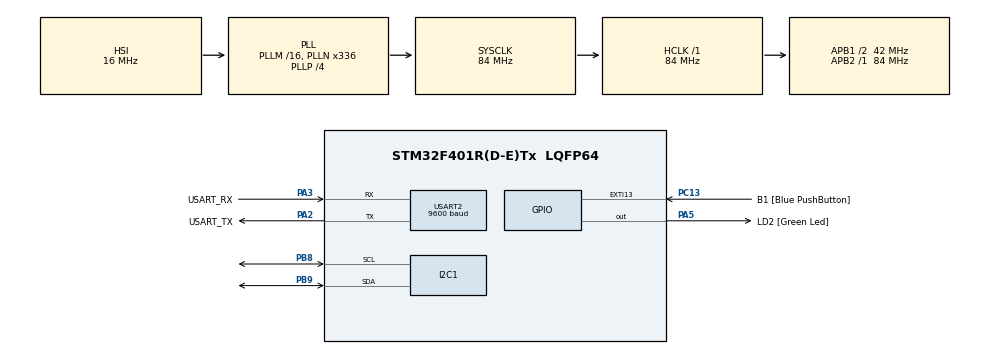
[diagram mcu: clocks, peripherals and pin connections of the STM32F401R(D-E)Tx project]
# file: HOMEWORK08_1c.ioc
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Dma.I2C1_RX.0.Direction=DMA_PERIPH_TO_MEMORY
Dma.I2C1_RX.0.FIFOMode=DMA_FIFOMODE_DISABLE
Dma.I2C1_RX.0.Instance=DMA1_Stream0
Dma.I2C1_RX.0.MemDataAlignment=DMA_MDATAALIGN_BYTE
Dma.I2C1_RX.0.MemInc=DMA_MINC_ENABLE
Dma.I2C1_RX.0.Mode=DMA_NORMAL
Dma.I2C1_RX.0.PeriphDataAlignment=DMA_PDATAALIGN_BYTE
Dma.I2C1_RX.0.PeriphInc=DMA_PINC_DISABLE
Dma.I2C1_RX.0.Priority=DMA_PRIORITY_LOW
Dma.Request0=I2C1_RX
Dma.Request1=USART2_TX
Dma.USART2_TX.1.Direction=DMA_MEMORY_TO_PERIPH
Dma.USART2_TX.1.FIFOMode=DMA_FIFOMODE_DISABLE
Dma.USART2_TX.1.Instance=DMA1_Stream6
Dma.USART2_TX.1.MemDataAlignment=DMA_MDATAALIGN_BYTE
Dma.USART2_TX.1.MemInc=DMA_MINC_ENABLE
Dma.USART2_TX.1.Mode=DMA_NORMAL
Dma.USART2_TX.1.PeriphDataAlignment=DMA_PDATAALIGN_BYTE
Dma.USART2_TX.1.PeriphInc=DMA_PINC_DISABLE
Dma.USART2_TX.1.Priority=DMA_PRIORITY_LOW
Mcu.Family=STM32F4
Mcu.Name=STM32F401R(D-E)Tx
Mcu.Package=LQFP64
NVIC.DMA1_Stream0_IRQn=true\:0\:0\:false\:false\:true\:false\:true\:true
NVIC.DMA1_Stream6_IRQn=true\:0\:0\:false\:false\:true\:false\:true\:true
NVIC.I2C1_ER_IRQn=true\:0\:0\:false\:false\:true\:true\:true\:true
NVIC.I2C1_EV_IRQn=true\:0\:0\:false\:false\:true\:true\:true\:true
NVIC.PriorityGroup=NVIC_PRIORITYGROUP_4
NVIC.TIM2_IRQn=true\:0\:0\:false\:false\:true\:true\:true\:true
PA13.GPIO_Label=TMS
PA13.Mode=Trace_Asynchronous_SW
PA13.Signal=SYS_JTMS-SWDIO
PA14.GPIO_Label=TCK
PA14.Mode=Trace_Asynchronous_SW
PA14.Signal=SYS_JTCK-SWCLK
PA2.GPIO_Label=USART_TX
PA2.GPIO_Mode=GPIO_MODE_AF_PP
PA2.GPIO_PuPd=GPIO_NOPULL
PA2.GPIO_Speed=GPIO_SPEED_FREQ_LOW
PA2.Mode=Asynchronous
PA2.Signal=USART2_TX
PA3.GPIO_Label=USART_RX
PA3.GPIO_Mode=GPIO_MODE_AF_PP
PA3.GPIO_PuPd=GPIO_NOPULL
PA3.GPIO_Speed=GPIO_SPEED_FREQ_LOW
PA3.Mode=Asynchronous
PA3.Signal=USART2_RX
PA5.GPIO_Label=LD2 [Green Led]
PA5.GPIO_Mode=GPIO_MODE_OUTPUT_PP
PA5.GPIO_PuPd=GPIO_NOPULL
PA5.GPIO_Speed=GPIO_SPEED_FREQ_LOW
PA5.Signal=GPIO_Output
PB3.GPIO_Label=SWO
PB3.Mode=Trace_Asynchronous_SW
PB3.Signal=SYS_JTDO-SWO
PB8.Mode=I2C
PB8.Signal=I2C1_SCL
PB9.Mode=I2C
PB9.Signal=I2C1_SDA
PC13-ANTI_TAMP.GPIO_Label=B1 [Blue PushButton]
PC13-ANTI_TAMP.GPIO_ModeDefaultEXTI=GPIO_MODE_IT_FALLING
PC13-ANTI_TAMP.GPIO_PuPd=GPIO_NOPULL
PC13-ANTI_TAMP.Signal=GPXTI13
PC14-OSC32_IN.Mode=LSE-External-Oscillator
PC14-OSC32_IN.Signal=RCC_OSC32_IN
PC15-OSC32_OUT.Mode=LSE-External-Oscillator
PC15-OSC32_OUT.Signal=RCC_OSC32_OUT
PH0\ -\ OSC_IN.Mode=HSE-External-Clock-Source
PH0\ -\ OSC_IN.Signal=RCC_OSC_IN
PH1\ -\ OSC_OUT.Mode=HSE-External-Clock-Source
PH1\ -\ OSC_OUT.Signal=RCC_OSC_OUT
ProjectManager.HeapSize=0x200
ProjectManager.StackSize=0x400
ProjectManager.TargetToolchain=STM32CubeIDE
RCC.48MHZClocksFreq_Value=48000000
RCC.AHBFreq_Value=84000000
RCC.APB1CLKDivider=RCC_HCLK_DIV2
RCC.APB1Freq_Value=42000000
RCC.APB1TimFreq_Value=84000000
RCC.APB2Freq_Value=84000000
RCC.APB2TimFreq_Value=84000000
RCC.CortexFreq_Value=84000000
RCC.HCLKFreq_Value=84000000
RCC.HSE_VALUE=8000000
RCC.HSI_VALUE=16000000
RCC.PLLN=336
RCC.PLLP=RCC_PLLP_DIV4
RCC.PLLQ=7
RCC.SYSCLKFreq_VALUE=84000000
RCC.SYSCLKSource=RCC_SYSCLKSOURCE_PLLCLK
RCC.VCOOutputFreq_Value=336000000
TIM2.Period=9999
TIM2.Prescaler=8399
USART2.BaudRate=9600
USART2.VirtualMode=VM_ASYNC
VP_TIM2_VS_ClockSourceINT.Mode=Internal
board=NUCLEO-F401RE

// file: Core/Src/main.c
/* USER CODE BEGIN Header */
/**
  ******************************************************************************
  * @file           : main.c
  * @brief          : Main program body
  ******************************************************************************
  * @attention
  *
  * Copyright (c) 2025 STMicroelectronics.
  * All rights reserved.
  *
  * This software is licensed under terms that can be found in the LICENSE file
  * in the root directory of this software component.
  * If no LICENSE file comes with this software, it is provided AS-IS.
  *
  ******************************************************************************
  */
/* USER CODE END Header */
#include "main.h"

/* USER CODE BEGIN Includes */
#include "stdio.h"
/* USER CODE END Includes */

I2C_HandleTypeDef hi2c1;
DMA_HandleTypeDef hdma_i2c1_rx;

TIM_HandleTypeDef htim2;

UART_HandleTypeDef huart2;
DMA_HandleTypeDef hdma_usart2_tx;

/* USER CODE BEGIN PV */
//LIS2DE
uint8_t ACCEL_ADD = 0b01010000;

//LIS2DE12
uint8_t LIS2DE12_ADD = 0b00110000;

//reg address, 1 Hz + normal mode + XYZ enabled
uint8_t CTRL_REG1[] = {0x20, 0b00010111};

//reg address, no HPF (default value at startup)
uint8_t CTRL_REG2[] = {0x21, 0b00000000};

//reg address, continuous update + 2g FSR + self test disabled
uint8_t CTRL_REG4[] = {0x23, 0b00000000};

float acc_g_x;
float acc_g_y;
float acc_g_z;

uint8_t values[5]; //5 Bytes: register address map -> register addresses 0x29(OUT_X), 0x2A, 0x2B(OUT_Y), 0x2C, 0x2D(OUT_Z)

/* USER CODE END PV */

void SystemClock_Config(void);
static void MX_GPIO_Init(void);
static void MX_DMA_Init(void);
static void MX_USART2_UART_Init(void);
static void MX_I2C1_Init(void);
static void MX_TIM2_Init(void);

/* USER CODE BEGIN 0 */

void HAL_UART_TxCpltCallback(UART_HandleTypeDef *huart){
	if (huart == &huart2){
	}
}

void HAL_TIM_PeriodElapsedCallback(TIM_HandleTypeDef *htim)
{
    if (htim == &htim2)
    {
    	uint8_t SUB = 0b10101001; //in order to read multiple bytes: SUB[7]=1 (auto-increment bit), while SUB[6-0] represents the address of the first register to be read(OUT_X in our case)
    	//equal to: SUB = 0x29 | 0x80;

    	HAL_I2C_Master_Transmit(&hi2c1, ACCEL_ADD, &SUB, 1, 50);
    	HAL_I2C_Master_Receive_DMA(&hi2c1, ACCEL_ADD+1, values, 5);
    }
}

void HAL_I2C_MasterRxCpltCallback(I2C_HandleTypeDef *hi2c){
	if (hi2c == &hi2c1){
		char str[64];
		int len = 0;

		acc_g_x = values[0] / 64.0;
		acc_g_y = values[2] / 64.0;
	  	acc_g_z = values[4] / 64.0;

	  	len = snprintf(str, sizeof(str), "X: %+-2f g\r\nY: %+.2f g\r\nZ: %+.2f g\r\n",acc_g_x, acc_g_y, acc_g_z);
	  	//adding the + we state that we always want the sign explicitly printed.
	  	HAL_UART_Transmit_DMA(&huart2, str, len);
	}
}
/* USER CODE END 0 */

int main(void)
{

  /* MCU Configuration--------------------------------------------------------*/

  /* Reset of all peripherals, Initializes the Flash interface and the Systick. */
  HAL_Init();

  /* Configure the system clock */
  SystemClock_Config();

  /* Initialize all configured peripherals */
  MX_GPIO_Init();
  MX_DMA_Init();
  MX_USART2_UART_Init();
  MX_I2C1_Init();
  MX_TIM2_Init();
  /* USER CODE BEGIN 2 */
  HAL_TIM_Base_Start_IT(&htim2);
    char str[64];
    int len = 0;

      //Initialize accelerometer

      if(HAL_I2C_Master_Transmit(&hi2c1, ACCEL_ADD, CTRL_REG1, sizeof(CTRL_REG1), 50) == HAL_OK){
    	  len = snprintf(str, sizeof(str),"LIS2DE found\r\n");
    	  //if the I2C write returns OK, then we know that there is a device with the LIS2DE address on the I2C bus, so we continue
      } else {
    	  //if not, we change the address to the LIS2BE12 and try again
    	  ACCEL_ADD = LIS2DE12_ADD;
    	  if(HAL_I2C_Master_Transmit(&hi2c1, ACCEL_ADD, CTRL_REG1, sizeof(CTRL_REG1), 50) == HAL_OK){
    		  len = snprintf(str, sizeof(str), "LIS2DE12 found\r\n");
    		  //if the function returns ok with the new address, we have a LIS2DE12
    	  } else {
    		  len = snprintf(str, sizeof(str), "Accelerometer error\r\n");
    		  //otherwise we have an error
    	  }
      }

  	   HAL_UART_Transmit_DMA(&huart2, str, len);
  /* USER CODE END 2 */

  /* Infinite loop */
  while (1)
  {

  }
}

void SystemClock_Config(void)
{
  RCC_OscInitTypeDef RCC_OscInitStruct = {0};
  RCC_ClkInitTypeDef RCC_ClkInitStruct = {0};

  /** Configure the main internal regulator output voltage
  */
  __HAL_RCC_PWR_CLK_ENABLE();
  __HAL_PWR_VOLTAGESCALING_CONFIG(PWR_REGULATOR_VOLTAGE_SCALE2);

  /** Initializes the RCC Oscillators according to the specified parameters
  * in the RCC_OscInitTypeDef structure.
  */
  RCC_OscInitStruct.OscillatorType = RCC_OSCILLATORTYPE_HSI;
  RCC_OscInitStruct.HSIState = RCC_HSI_ON;
  RCC_OscInitStruct.HSICalibrationValue = RCC_HSICALIBRATION_DEFAULT;
  RCC_OscInitStruct.PLL.PLLState = RCC_PLL_ON;
  RCC_OscInitStruct.PLL.PLLSource = RCC_PLLSOURCE_HSI;
  RCC_OscInitStruct.PLL.PLLM = 16;
  RCC_OscInitStruct.PLL.PLLN = 336;
  RCC_OscInitStruct.PLL.PLLP = RCC_PLLP_DIV4;
  RCC_OscInitStruct.PLL.PLLQ = 7;
  if (HAL_RCC_OscConfig(&RCC_OscInitStruct) != HAL_OK)
  {
    Error_Handler();
  }

  /** Initializes the CPU, AHB and APB buses clocks
  */
  RCC_ClkInitStruct.ClockType = RCC_CLOCKTYPE_HCLK|RCC_CLOCKTYPE_SYSCLK
                              |RCC_CLOCKTYPE_PCLK1|RCC_CLOCKTYPE_PCLK2;
  RCC_ClkInitStruct.SYSCLKSource = RCC_SYSCLKSOURCE_PLLCLK;
  RCC_ClkInitStruct.AHBCLKDivider = RCC_SYSCLK_DIV1;
  RCC_ClkInitStruct.APB1CLKDivider = RCC_HCLK_DIV2;
  RCC_ClkInitStruct.APB2CLKDivider = RCC_HCLK_DIV1;

  if (HAL_RCC_ClockConfig(&RCC_ClkInitStruct, FLASH_LATENCY_2) != HAL_OK)
  {
    Error_Handler();
  }
}

static void MX_I2C1_Init(void)
{

  hi2c1.Instance = I2C1;
  hi2c1.Init.ClockSpeed = 100000;
  hi2c1.Init.DutyCycle = I2C_DUTYCYCLE_2;
  hi2c1.Init.OwnAddress1 = 0;
  hi2c1.Init.AddressingMode = I2C_ADDRESSINGMODE_7BIT;
  hi2c1.Init.DualAddressMode = I2C_DUALADDRESS_DISABLE;
  hi2c1.Init.OwnAddress2 = 0;
  hi2c1.Init.GeneralCallMode = I2C_GENERALCALL_DISABLE;
  hi2c1.Init.NoStretchMode = I2C_NOSTRETCH_DISABLE;
  if (HAL_I2C_Init(&hi2c1) != HAL_OK)
  {
    Error_Handler();
  }

}

static void MX_TIM2_Init(void)
{

  TIM_ClockConfigTypeDef sClockSourceConfig = {0};
  TIM_MasterConfigTypeDef sMasterConfig = {0};

  htim2.Instance = TIM2;
  htim2.Init.Prescaler = 8399;
  htim2.Init.CounterMode = TIM_COUNTERMODE_UP;
  htim2.Init.Period = 9999;
  htim2.Init.ClockDivision = TIM_CLOCKDIVISION_DIV1;
  htim2.Init.AutoReloadPreload = TIM_AUTORELOAD_PRELOAD_DISABLE;
  if (HAL_TIM_Base_Init(&htim2) != HAL_OK)
  {
    Error_Handler();
  }
  sClockSourceConfig.ClockSource = TIM_CLOCKSOURCE_INTERNAL;
  if (HAL_TIM_ConfigClockSource(&htim2, &sClockSourceConfig) != HAL_OK)
  {
    Error_Handler();
  }
  sMasterConfig.MasterOutputTrigger = TIM_TRGO_RESET;
  sMasterConfig.MasterSlaveMode = TIM_MASTERSLAVEMODE_DISABLE;
  if (HAL_TIMEx_MasterConfigSynchronization(&htim2, &sMasterConfig) != HAL_OK)
  {
    Error_Handler();
  }

}

static void MX_USART2_UART_Init(void)
{

  huart2.Instance = USART2;
  huart2.Init.BaudRate = 9600;
  huart2.Init.WordLength = UART_WORDLENGTH_8B;
  huart2.Init.StopBits = UART_STOPBITS_1;
  huart2.Init.Parity = UART_PARITY_NONE;
  huart2.Init.Mode = UART_MODE_TX_RX;
  huart2.Init.HwFlowCtl = UART_HWCONTROL_NONE;
  huart2.Init.OverSampling = UART_OVERSAMPLING_16;
  if (HAL_UART_Init(&huart2) != HAL_OK)
  {
    Error_Handler();
  }

}

static void MX_DMA_Init(void)
{

  /* DMA controller clock enable */
  __HAL_RCC_DMA1_CLK_ENABLE();

  /* DMA interrupt init */
  /* DMA1_Stream0_IRQn interrupt configuration */
  HAL_NVIC_SetPriority(DMA1_Stream0_IRQn, 0, 0);
  HAL_NVIC_EnableIRQ(DMA1_Stream0_IRQn);
  /* DMA1_Stream6_IRQn interrupt configuration */
  HAL_NVIC_SetPriority(DMA1_Stream6_IRQn, 0, 0);
  HAL_NVIC_EnableIRQ(DMA1_Stream6_IRQn);

}

static void MX_GPIO_Init(void)
{
  GPIO_InitTypeDef GPIO_InitStruct = {0};

  /* GPIO Ports Clock Enable */
  __HAL_RCC_GPIOC_CLK_ENABLE();
  __HAL_RCC_GPIOH_CLK_ENABLE();
  __HAL_RCC_GPIOA_CLK_ENABLE();
  __HAL_RCC_GPIOB_CLK_ENABLE();

  /*Configure GPIO pin Output Level */
  HAL_GPIO_WritePin(LD2_GPIO_Port, LD2_Pin, GPIO_PIN_RESET);

  /*Configure GPIO pin : B1_Pin */
  GPIO_InitStruct.Pin = B1_Pin;
  GPIO_InitStruct.Mode = GPIO_MODE_IT_FALLING;
  GPIO_InitStruct.Pull = GPIO_NOPULL;
  HAL_GPIO_Init(B1_GPIO_Port, &GPIO_InitStruct);

  /*Configure GPIO pin : LD2_Pin */
  GPIO_InitStruct.Pin = LD2_Pin;
  GPIO_InitStruct.Mode = GPIO_MODE_OUTPUT_PP;
  GPIO_InitStruct.Pull = GPIO_NOPULL;
  GPIO_InitStruct.Speed = GPIO_SPEED_FREQ_LOW;
  HAL_GPIO_Init(LD2_GPIO_Port, &GPIO_InitStruct);

}

void Error_Handler(void)
{
  __disable_irq();
  while (1)
  {
  }
}
